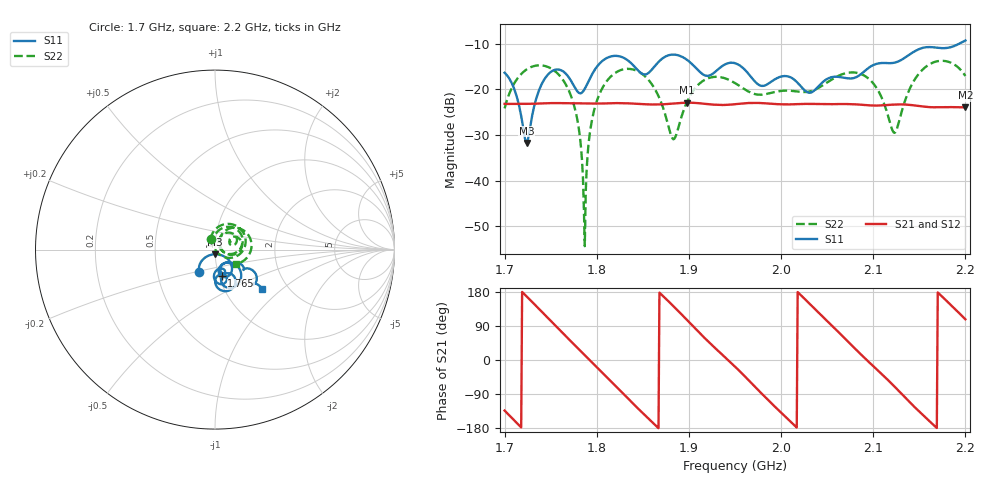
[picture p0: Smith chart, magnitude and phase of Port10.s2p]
# Hz S RI R 50
! CMT, CMT808U, 21440046, 21.4.3/4
! Date: 12/13/2025 10:51:47 PM
! Data: Format (Calibration Info)
! Freq	S11:Re/Im(F2)	S41:Re/Im(F2)	S14:Re/Im(F2)	S44:Re/Im(F2)
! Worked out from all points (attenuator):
!   501 points, 1.7 GHz to 2.2 GHz, reference 50 ohm
!   highest |S21| = -22.90 dB at 1.898 GHz (marker M1); lowest = -23.9 dB at 2.2 GHz (marker M2)
!   lowest |S11| = -31.8 dB at 1.724 GHz (marker M3), VSWR 1.05, Z = 50.1 - j2.58 ohm
!   |S11| at or under -10 dB: start of sweep to 2.193 GHz
!   |S22| runs from -54.4 to -13.7 dB; largest |S21 - S12| = 0.00039
!   S11 on the Smith chart (normalised r, x): 1.7 GHz: 0.82, -0.21; 1.765 GHz: 1.03, -0.31; 2.2 GHz: 1.49, -0.75
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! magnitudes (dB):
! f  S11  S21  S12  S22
! 1.7 GHz  -16.3  -23.2  -23.2  -24.2
! 1.724 GHz  -31.8  -23.2  -23.2  -15.6
! 1.742 GHz  -18.2  -23.0  -23.1  -14.8
! 1.765 GHz  -16.3  -23.0  -23.0  -18.4
! 1.778 GHz  -20.2  -23.0  -23.1  -25.7
! 1.784 GHz  -20.7  -23.1  -23.1  -35.5
! 1.787 GHz  -19.8  -23.1  -23.1  -54.4
! 1.791 GHz  -18.2  -23.1  -23.1  -32.1
! 1.796 GHz  -16.3  -23.1  -23.1  -25.5
! 1.816 GHz  -12.7  -23.0  -23.0  -17.0
! 1.843 GHz  -15.4  -23.1  -23.2  -15.9
! 1.867 GHz  -14.0  -23.3  -23.3  -21.5
! 1.883 GHz  -12.3  -23.1  -23.1  -30.9
! 1.898 GHz  -13.5  -22.9  -22.9  -22.7
! 1.92 GHz  -17.0  -23.2  -23.2  -17.6
! 1.95 GHz  -14.2  -23.2  -23.3  -18.6
! 2.034 GHz  -20.5  -23.2  -23.2  -20.3
! 2.086 GHz  -16.7  -23.3  -23.3  -16.6
! 2.117 GHz  -14.2  -23.4  -23.4  -26.5
! 2.124 GHz  -14.1  -23.3  -23.3  -29.4
! 2.161 GHz  -10.7  -23.9  -23.9  -14.5
! 2.2 GHz  -9.2  -23.9  -23.9  -17.0
